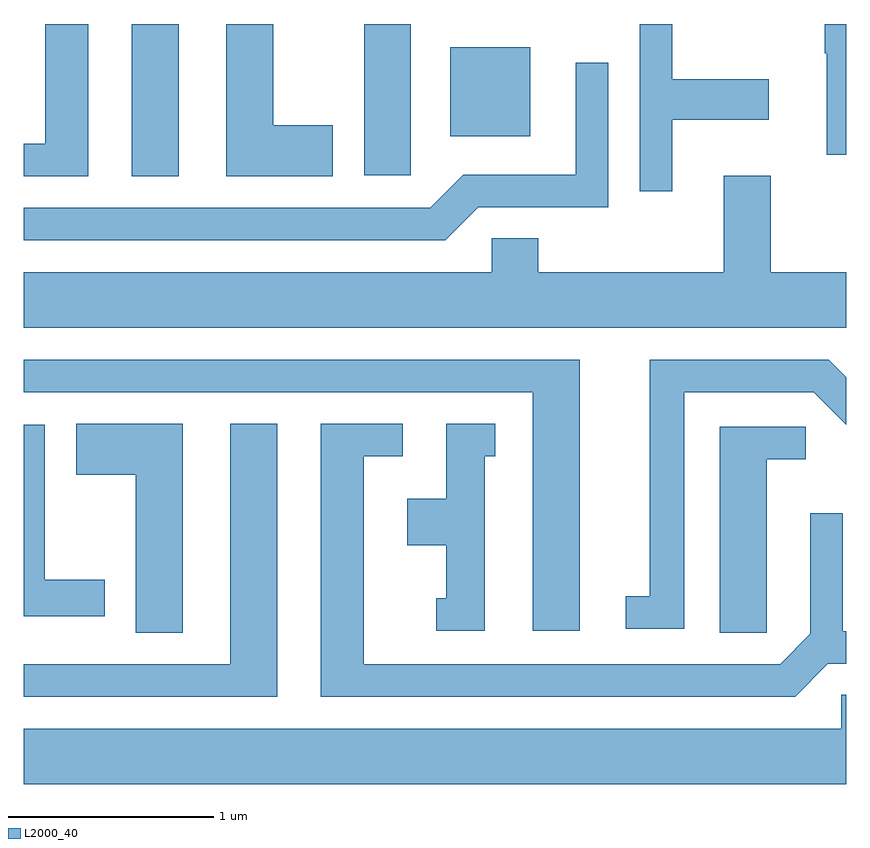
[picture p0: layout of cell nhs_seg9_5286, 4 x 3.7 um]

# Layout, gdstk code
import gdstk
lib = gdstk.Library(unit=1e-6, precision=1e-09)
def R(c, l, rs):  # rectangles x0, y0, x1, y1
    for r in rs: c.add(gdstk.rectangle(r[:2], r[2:], *l))
def P(c, l, *ps):  # polygons
    for p in ps: c.add(gdstk.Polygon(p, *l))
L2000_40 = (2000, 40)

nhs_seg9_5286 = lib.new_cell('nhs_seg9_5286')
R(nhs_seg9_5286, L2000_40, [(342.136,1963.691,342.364,1964.432), (343.266,1963.696,343.494,1964.432), (343.686,1963.886,344.074,1964.319)])
P(nhs_seg9_5286, L2000_40, [(343.114,1963.939),(342.824,1963.939),(342.824,1964.432),(342.596,1964.432),(342.596,1963.691),(343.114,1963.691)],
  [(345.611,1964.432),(345.506,1964.432),(345.506,1964.29),(345.516,1964.29),(345.516,1963.796),(345.611,1963.796)],
  [(344.764,1963.966),(345.234,1963.966),(345.234,1964.164),(344.764,1964.164),(344.764,1964.432),(344.606,1964.432),(344.606,1963.618),(344.764,1963.618)],
  [(341.924,1964.432),(341.716,1964.432),(341.716,1963.849),(341.611,1963.849),(341.611,1963.691),(341.924,1963.691)],
  [(343.822,1963.541),(344.454,1963.541),(344.454,1964.243),(344.296,1964.243),(344.296,1963.699),(343.749,1963.699),(343.589,1963.539),(341.611,1963.539),(341.611,1963.381),(343.662,1963.381)],
  [(345.611,1963.224),(345.244,1963.224),(345.244,1963.694),(345.016,1963.694),(345.016,1963.224),(344.114,1963.224),(344.114,1963.389),(343.886,1963.389),(343.886,1963.224),(341.611,1963.224),(341.611,1962.956),(345.611,1962.956)],
  [(344.314,1962.799),(341.611,1962.799),(341.611,1962.641),(344.086,1962.641),(344.086,1961.481),(344.314,1961.481)],
  [(344.824,1962.641),(345.454,1962.641),(345.611,1962.484),(345.611,1962.715),(345.527,1962.799),(344.656,1962.799),(344.656,1961.649),(344.538,1961.649),(344.538,1961.491),(344.824,1961.491)],
  [(342.844,1962.489),(342.616,1962.489),(342.616,1961.319),(341.611,1961.319),(341.611,1961.161),(342.844,1961.161)],
  [(343.854,1962.331),(343.903,1962.331),(343.903,1962.489),(343.666,1962.489),(343.666,1962.124),(343.476,1962.124),(343.476,1961.896),(343.666,1961.896),(343.666,1961.639),(343.618,1961.639),(343.618,1961.481),(343.854,1961.481)],
  [(345.522,1961.321),(345.611,1961.321),(345.611,1961.479),(345.594,1961.479),(345.594,1962.053),(345.436,1962.053),(345.436,1961.467),(345.289,1961.319),(343.264,1961.319),(343.264,1962.331),(343.453,1962.331),(343.453,1962.489),(343.056,1962.489),(343.056,1961.161),(345.362,1961.161)],
  [(342.384,1962.489),(341.866,1962.489),(341.866,1962.241),(342.156,1962.241),(342.156,1961.471),(342.384,1961.471)],
  [(342.004,1961.729),(341.714,1961.729),(341.714,1962.484),(341.611,1962.484),(341.611,1961.551),(342.004,1961.551)],
  [(345.224,1962.316),(345.413,1962.316),(345.413,1962.474),(344.996,1962.474),(344.996,1961.471),(345.224,1961.471)],
  [(345.611,1961.169),(345.586,1961.169),(345.586,1961.004),(341.611,1961.004),(341.611,1960.736),(345.611,1960.736)])

lib.write_gds('nhs_seg9_5286.gds')
